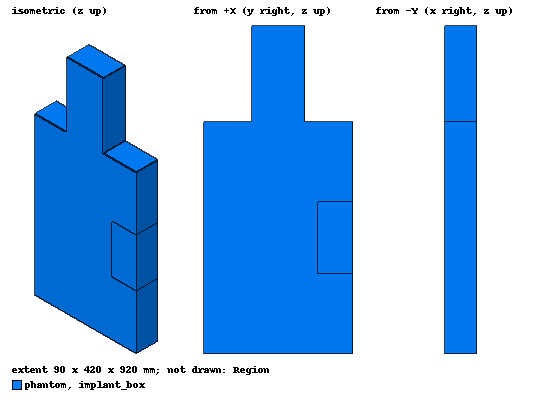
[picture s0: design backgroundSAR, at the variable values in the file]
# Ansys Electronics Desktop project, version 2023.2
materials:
  vacuum: permittivity=1
  Gel: permittivity=80 conductivity=0.47 mass_density=1000
  air: permittivity=1.0006 permeability=1.0000004 mass_density=1.1614
  titanium: permeability=1.00018 conductivity=1820000 mass_density=4500

design backgroundSAR (HFSS, HFSS Modal Network, model units mm)
options: Save_Adaptive_support_files
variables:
  # Implant_Position
  implant_x = 0mm  # from center of phantom
  implant_y = 3cm  # from edge of phantom
  implant_z = 0mm  # from center of phantom
  # Implant_Dimension
  implant_height = 10cm
  implant_width = 20mm
  # Input_Power_Scal
  input_scale = 1W
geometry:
  phantom [Gel] = box(corner=(-4.5cm, -21cm, -32.5cm), size=(9cm, 42cm, 65cm))
  Box2 = box(corner=(-4.5cm, -7.5cm, 32.5cm), size=(9cm, 15cm, 27cm))
  phantom.unite(Box2)
  implant_box [Gel] = box(corner=(-4.5cm, 21cm, -implant_height/2 - 5cm), size=(90mm, -implant_width - implant_y - 5cm, implant_height + 10 cm))
  implant_box_1 = implant_box.copy()
  phantom.subtract(implant_box_1)
  Region [air] = region(absolute_offset=150cm on all sides)
  coordinate_system implant = origin=(implant_x, 21cm - implant_y, implant_z) x=(1mm, 0mm, 0mm) y=(0mm, 1mm, 0mm)
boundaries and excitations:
  Rad1: Radiation Faces=Region.face(all 6)
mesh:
  Length_In_Implantbox_20mm: LengthBased RefineInside Objects=implant_box MaxLength=20mm
  Length_In_Phantom_100mm: LengthBased RefineInside Objects=phantom MaxLength=100mm
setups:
  Setup1: HfssDriven Frequency=63.8MHz MaxDeltaE=0.1 MaximumPasses=30 MinimumPasses=1 MinimumConvergedPasses=1 PercentRefinement=30 BasisOrder=1 DrivenSolverType="Direct Solver"
